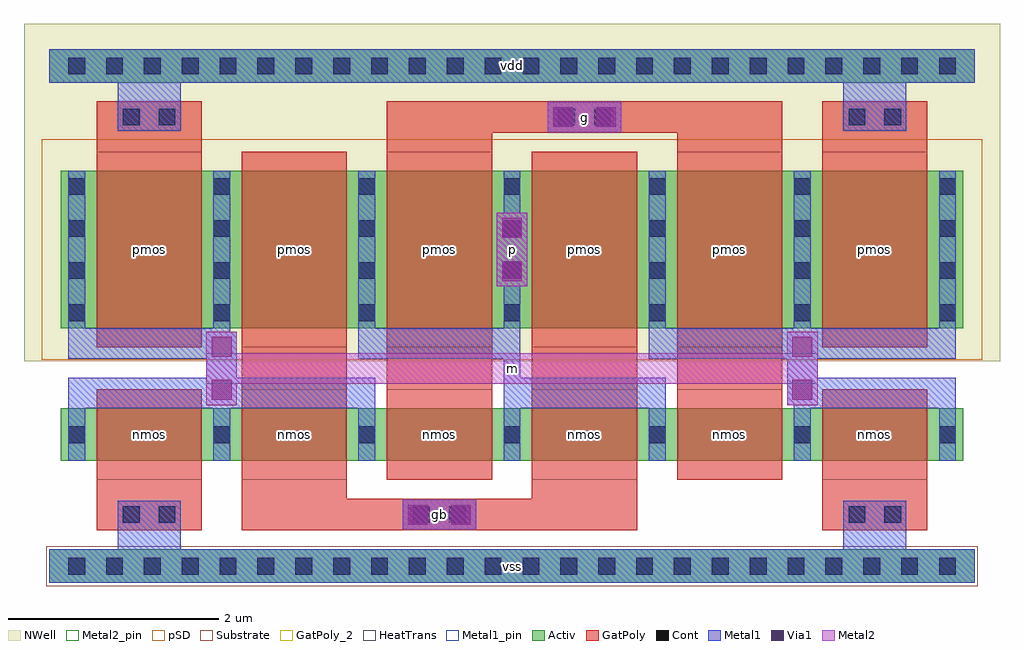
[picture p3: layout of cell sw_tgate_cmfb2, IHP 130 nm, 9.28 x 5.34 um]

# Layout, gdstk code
import gdstk
lib = gdstk.Library(unit=1e-6, precision=1e-09)
def R(c, l, rs):  # rectangles x0, y0, x1, y1
    for r in rs: c.add(gdstk.rectangle(r[:2], r[2:], *l))
def A(c, l, x, y, w, h, nx, ny, dx, dy):  # array of equal rectangles
    R(c, l, [(x+i*dx, y+j*dy, x+i*dx+w, y+j*dy+h) for i in range(nx) for j in range(ny)])
Activ = (1, 0)
GatPoly = (5, 0)
GatPoly_2 = (5, 2)
Cont = (6, 0)
Metal1 = (8, 0)
Metal1_pin = (8, 2)
Metal2 = (10, 0)
Metal2_pin = (10, 2)
pSD = (14, 0)
Via1 = (19, 0)
NWell = (31, 0)
Substrate = (40, 0)
HeatTrans = (51, 0)

sw_tgate_cmfb2 = lib.new_cell('sw_tgate_cmfb2')
A(sw_tgate_cmfb2, Activ, 0.11, 1, 1.68, 0.5, 6, 1, 1.38, 0)
A(sw_tgate_cmfb2, Activ, 0.11, 2.26, 1.68, 1.5, 6, 1, 1.38, 0)
R(sw_tgate_cmfb2, Activ, [(0,-0.16,8.8,0.16), (0.11,1,0.41,1.3), (1.49,1,1.79,1.3), (1.49,1,1.79,1.3), (2.87,1,3.17,1.3), (2.87,1,3.17,1.3), (4.25,1,4.55,1.3), (4.25,1,4.55,1.3), (5.63,1,5.93,1.3), (5.63,1,5.93,1.3), (7.01,1,7.31,1.3), (7.01,1,7.31,1.3), (8.39,1,8.69,1.3), (0.11,2.26,0.41,2.56), (1.49,2.26,1.79,2.56), (1.49,2.26,1.79,2.56), (2.87,2.26,3.17,2.56), (2.87,2.26,3.17,2.56), (4.25,2.26,4.55,2.56), (4.25,2.26,4.55,2.56), (5.63,2.26,5.93,2.56), (5.63,2.26,5.93,2.56), (7.01,2.26,7.31,2.56), (7.01,2.26,7.31,2.56), (8.39,2.26,8.69,2.56), (0,4.595,8.8,4.915)])
A(sw_tgate_cmfb2, GatPoly, 0.45, 0.82, 1, 0.86, 6, 1, 1.38, 0)
A(sw_tgate_cmfb2, GatPoly, 1.83, 1.49, 1, 0.09, 4, 2, 1.38, 0.69)
A(sw_tgate_cmfb2, GatPoly, 1.83, 1.57, 1, 0.62, 4, 1, 1.38, 0)
R(sw_tgate_cmfb2, GatPoly, [(0.45,0.34,1.45,1.01), (1.83,0.34,5.59,0.64), (7.35,0.34,8.35,1.01), (1.83,0.63,2.83,1.01), (4.59,0.63,5.59,1.01), (0.45,2.08,1.45,3.94), (0.45,2.08,1.45,3.94), (1.83,2.08,2.83,3.94), (1.83,2.08,2.83,3.94), (3.21,2.08,4.21,3.94), (3.21,2.08,4.21,3.94), (4.59,2.08,5.59,3.94), (4.59,2.08,5.59,3.94), (5.97,2.08,6.97,3.94), (5.97,2.08,6.97,3.94), (7.35,2.08,8.35,3.94), (7.35,2.08,8.35,3.94), (0.45,3.75,1.45,4.42), (3.21,3.75,4.21,4.13), (5.97,3.75,6.97,4.13), (7.35,3.75,8.35,4.42), (3.21,4.12,6.97,4.42)])
A(sw_tgate_cmfb2, GatPoly_2, 0.45, 0.82, 1, 0.86, 6, 1, 1.38, 0)
A(sw_tgate_cmfb2, Cont, 0.18, -0.08, 0.16, 0.16, 24, 2, 0.36, 4.755)
A(sw_tgate_cmfb2, Cont, 0.18, 2.33, 0.16, 0.16, 1, 4, 0, 0.4)
A(sw_tgate_cmfb2, Cont, 8.46, 2.33, 0.16, 0.16, 1, 4, 0, 0.4)
R(sw_tgate_cmfb2, Cont, [(0.7,0.41,0.86,0.57), (1.04,0.41,1.2,0.57), (3.46,0.41,3.62,0.57), (3.8,0.41,3.96,0.57), (7.6,0.41,7.76,0.57), (7.94,0.41,8.1,0.57), (0.18,1.17,0.34,1.33), (1.56,1.17,1.72,1.33), (1.56,1.17,1.72,1.33), (2.94,1.17,3.1,1.33), (2.94,1.17,3.1,1.33), (4.32,1.17,4.48,1.33), (4.32,1.17,4.48,1.33), (5.7,1.17,5.86,1.33), (5.7,1.17,5.86,1.33), (7.08,1.17,7.24,1.33), (7.08,1.17,7.24,1.33), (8.46,1.17,8.62,1.33), (1.56,2.33,1.72,2.49), (1.56,2.33,1.72,2.49), (2.94,2.33,3.1,2.49), (2.94,2.33,3.1,2.49), (4.32,2.33,4.48,2.49), (4.32,2.33,4.48,2.49), (5.7,2.33,5.86,2.49), (5.7,2.33,5.86,2.49), (7.08,2.33,7.24,2.49), (7.08,2.33,7.24,2.49), (1.56,2.73,1.72,2.89), (1.56,2.73,1.72,2.89), (2.94,2.73,3.1,2.89), (2.94,2.73,3.1,2.89), (4.32,2.73,4.48,2.89), (4.32,2.73,4.48,2.89), (5.7,2.73,5.86,2.89), (5.7,2.73,5.86,2.89), (7.08,2.73,7.24,2.89), (7.08,2.73,7.24,2.89), (1.56,3.13,1.72,3.29), (1.56,3.13,1.72,3.29), (2.94,3.13,3.1,3.29), (2.94,3.13,3.1,3.29), (4.32,3.13,4.48,3.29), (4.32,3.13,4.48,3.29), (5.7,3.13,5.86,3.29), (5.7,3.13,5.86,3.29), (7.08,3.13,7.24,3.29), (7.08,3.13,7.24,3.29), (1.56,3.53,1.72,3.69), (1.56,3.53,1.72,3.69), (2.94,3.53,3.1,3.69), (2.94,3.53,3.1,3.69), (4.32,3.53,4.48,3.69), (4.32,3.53,4.48,3.69), (5.7,3.53,5.86,3.69), (5.7,3.53,5.86,3.69), (7.08,3.53,7.24,3.69), (7.08,3.53,7.24,3.69), (0.7,4.19,0.86,4.35), (1.04,4.19,1.2,4.35), (4.84,4.19,5,4.35), (5.18,4.19,5.34,4.35), (7.6,4.19,7.76,4.35), (7.94,4.19,8.1,4.35)])
A(sw_tgate_cmfb2, Metal1, 1.56, 1.5, 0.16, 0.76, 3, 1, 2.76, 0)
A(sw_tgate_cmfb2, Metal1, 1.56, 1.5, 1.54, 0.29, 3, 1, 2.76, 0)
A(sw_tgate_cmfb2, Metal1, 0.18, 1.97, 1.54, 0.29, 3, 1, 2.76, 0)
R(sw_tgate_cmfb2, Metal1, [(0,-0.16,8.8,0.16), (0,-0.16,8.8,0.16), (0.65,0,1.25,0.62), (7.55,0,8.15,0.62), (3.36,0.345,4.06,0.635), (0.18,1,0.34,1.5), (1.56,1,1.72,1.5), (1.56,1,1.72,1.5), (2.94,1,3.1,1.5), (2.94,1,3.1,1.5), (4.32,1,4.48,1.5), (4.32,1,4.48,1.5), (5.7,1,5.86,1.5), (5.7,1,5.86,1.5), (7.08,1,7.24,1.5), (7.08,1,7.24,1.5), (8.46,1,8.62,1.5), (0.18,1.5,3.1,1.79), (1.495,1.53,1.785,2.23), (7.015,1.53,7.305,2.23), (5.7,1.97,8.62,2.26), (0.18,2.26,0.34,3.76), (0.18,2.26,0.34,3.76), (1.56,2.26,1.72,3.76), (1.56,2.26,1.72,3.76), (1.56,2.26,1.72,3.76), (1.56,2.26,1.72,3.76), (2.94,2.26,3.1,3.76), (2.94,2.26,3.1,3.76), (2.94,2.26,3.1,3.76), (2.94,2.26,3.1,3.76), (4.32,2.26,4.48,3.76), (4.32,2.26,4.48,3.76), (4.32,2.26,4.48,3.76), (4.32,2.26,4.48,3.76), (5.7,2.26,5.86,3.76), (5.7,2.26,5.86,3.76), (5.7,2.26,5.86,3.76), (5.7,2.26,5.86,3.76), (7.08,2.26,7.24,3.76), (7.08,2.26,7.24,3.76), (7.08,2.26,7.24,3.76), (7.08,2.26,7.24,3.76), (8.46,2.26,8.62,3.76), (8.46,2.26,8.62,3.76), (4.255,2.66,4.545,3.36), (4.74,4.125,5.44,4.415), (0.65,4.14,1.25,4.755), (7.55,4.14,8.15,4.755), (0,4.595,8.8,4.915), (0,4.595,8.8,4.915)])
R(sw_tgate_cmfb2, Metal1_pin, [(0,-0.16,8.8,0.16), (0.18,1,0.34,1.5), (1.56,1,1.72,1.5), (1.56,1,1.72,1.5), (2.94,1,3.1,1.5), (2.94,1,3.1,1.5), (4.32,1,4.48,1.5), (4.32,1,4.48,1.5), (5.7,1,5.86,1.5), (5.7,1,5.86,1.5), (7.08,1,7.24,1.5), (7.08,1,7.24,1.5), (8.46,1,8.62,1.5), (0,4.595,8.8,4.915)])
R(sw_tgate_cmfb2, Metal2, [(3.36,0.345,4.06,0.635), (3.36,0.345,4.06,0.635), (1.495,1.53,1.785,2.23), (7.015,1.53,7.305,2.23), (1.495,1.735,7.305,2.025), (4.255,2.66,4.545,3.36), (4.255,2.66,4.545,3.36), (4.74,4.125,5.44,4.415), (4.74,4.125,5.44,4.415)])
R(sw_tgate_cmfb2, Metal2_pin, [(3.36,0.345,4.06,0.635), (1.495,1.735,7.305,2.025), (4.255,2.66,4.545,3.36), (4.74,4.125,5.44,4.415)])
A(sw_tgate_cmfb2, pSD, -0.07, 1.96, 2.04, 2.1, 6, 1, 1.38, 0)
R(sw_tgate_cmfb2, pSD, [(-0.03,-0.19,8.83,0.19)])
R(sw_tgate_cmfb2, Via1, [(3.41,0.395,3.6,0.585), (3.82,0.395,4.01,0.585), (1.545,1.58,1.735,1.77), (7.065,1.58,7.255,1.77), (1.545,1.99,1.735,2.18), (7.065,1.99,7.255,2.18), (4.305,2.71,4.495,2.9), (4.305,3.12,4.495,3.31), (4.79,4.175,4.98,4.365), (5.2,4.175,5.39,4.365)])
A(sw_tgate_cmfb2, NWell, -0.2, 1.95, 2.3, 2.12, 6, 1, 1.38, 0)
R(sw_tgate_cmfb2, NWell, [(-0.24,1.95,9.04,5.155)])
R(sw_tgate_cmfb2, Substrate, [(-0.03,-0.19,8.83,0.19)])
A(sw_tgate_cmfb2, HeatTrans, 0.45, 0.82, 1, 0.86, 6, 1, 1.38, 0)
A(sw_tgate_cmfb2, HeatTrans, 0.45, 2.08, 1, 1.86, 6, 1, 1.38, 0)
sw_tgate_cmfb2.add(gdstk.Label('nmos', (0.95,1.25), layer=63, texttype=0))
sw_tgate_cmfb2.add(gdstk.Label('nmos', (2.33,1.25), layer=63, texttype=0))
sw_tgate_cmfb2.add(gdstk.Label('nmos', (3.71,1.25), layer=63, texttype=0))
sw_tgate_cmfb2.add(gdstk.Label('nmos', (5.09,1.25), layer=63, texttype=0))
sw_tgate_cmfb2.add(gdstk.Label('nmos', (6.47,1.25), layer=63, texttype=0))
sw_tgate_cmfb2.add(gdstk.Label('nmos', (7.85,1.25), layer=63, texttype=0))
sw_tgate_cmfb2.add(gdstk.Label('pmos', (0.95,3.01), layer=63, texttype=0))
sw_tgate_cmfb2.add(gdstk.Label('pmos', (2.33,3.01), layer=63, texttype=0))
sw_tgate_cmfb2.add(gdstk.Label('pmos', (3.71,3.01), layer=63, texttype=0))
sw_tgate_cmfb2.add(gdstk.Label('pmos', (5.09,3.01), layer=63, texttype=0))
sw_tgate_cmfb2.add(gdstk.Label('pmos', (6.47,3.01), layer=63, texttype=0))
sw_tgate_cmfb2.add(gdstk.Label('pmos', (7.85,3.01), layer=63, texttype=0))
sw_tgate_cmfb2.add(gdstk.Label('nmos', (0.95,1.25), layer=51, texttype=0))
sw_tgate_cmfb2.add(gdstk.Label('nmos', (2.33,1.25), layer=51, texttype=0))
sw_tgate_cmfb2.add(gdstk.Label('nmos', (3.71,1.25), layer=51, texttype=0))
sw_tgate_cmfb2.add(gdstk.Label('nmos', (5.09,1.25), layer=51, texttype=0))
sw_tgate_cmfb2.add(gdstk.Label('nmos', (6.47,1.25), layer=51, texttype=0))
sw_tgate_cmfb2.add(gdstk.Label('nmos', (7.85,1.25), layer=51, texttype=0))
sw_tgate_cmfb2.add(gdstk.Label('pmos', (0.95,3.01), layer=51, texttype=0))
sw_tgate_cmfb2.add(gdstk.Label('pmos', (2.33,3.01), layer=51, texttype=0))
sw_tgate_cmfb2.add(gdstk.Label('pmos', (3.71,3.01), layer=51, texttype=0))
sw_tgate_cmfb2.add(gdstk.Label('pmos', (5.09,3.01), layer=51, texttype=0))
sw_tgate_cmfb2.add(gdstk.Label('pmos', (6.47,3.01), layer=51, texttype=0))
sw_tgate_cmfb2.add(gdstk.Label('pmos', (7.85,3.01), layer=51, texttype=0))
sw_tgate_cmfb2.add(gdstk.Label('vss', (4.4,0), layer=8, texttype=25))
sw_tgate_cmfb2.add(gdstk.Label('vdd', (4.4,4.755), layer=8, texttype=25))
sw_tgate_cmfb2.add(gdstk.Label('m', (4.4,1.88), layer=10, texttype=25))
sw_tgate_cmfb2.add(gdstk.Label('p', (4.4,3.01), layer=10, texttype=25))
sw_tgate_cmfb2.add(gdstk.Label('g', (5.09,4.27), layer=10, texttype=25))
sw_tgate_cmfb2.add(gdstk.Label('gb', (3.71,0.49), layer=10, texttype=25))

lib.write_gds('sw_tgate_cmfb2.gds')
